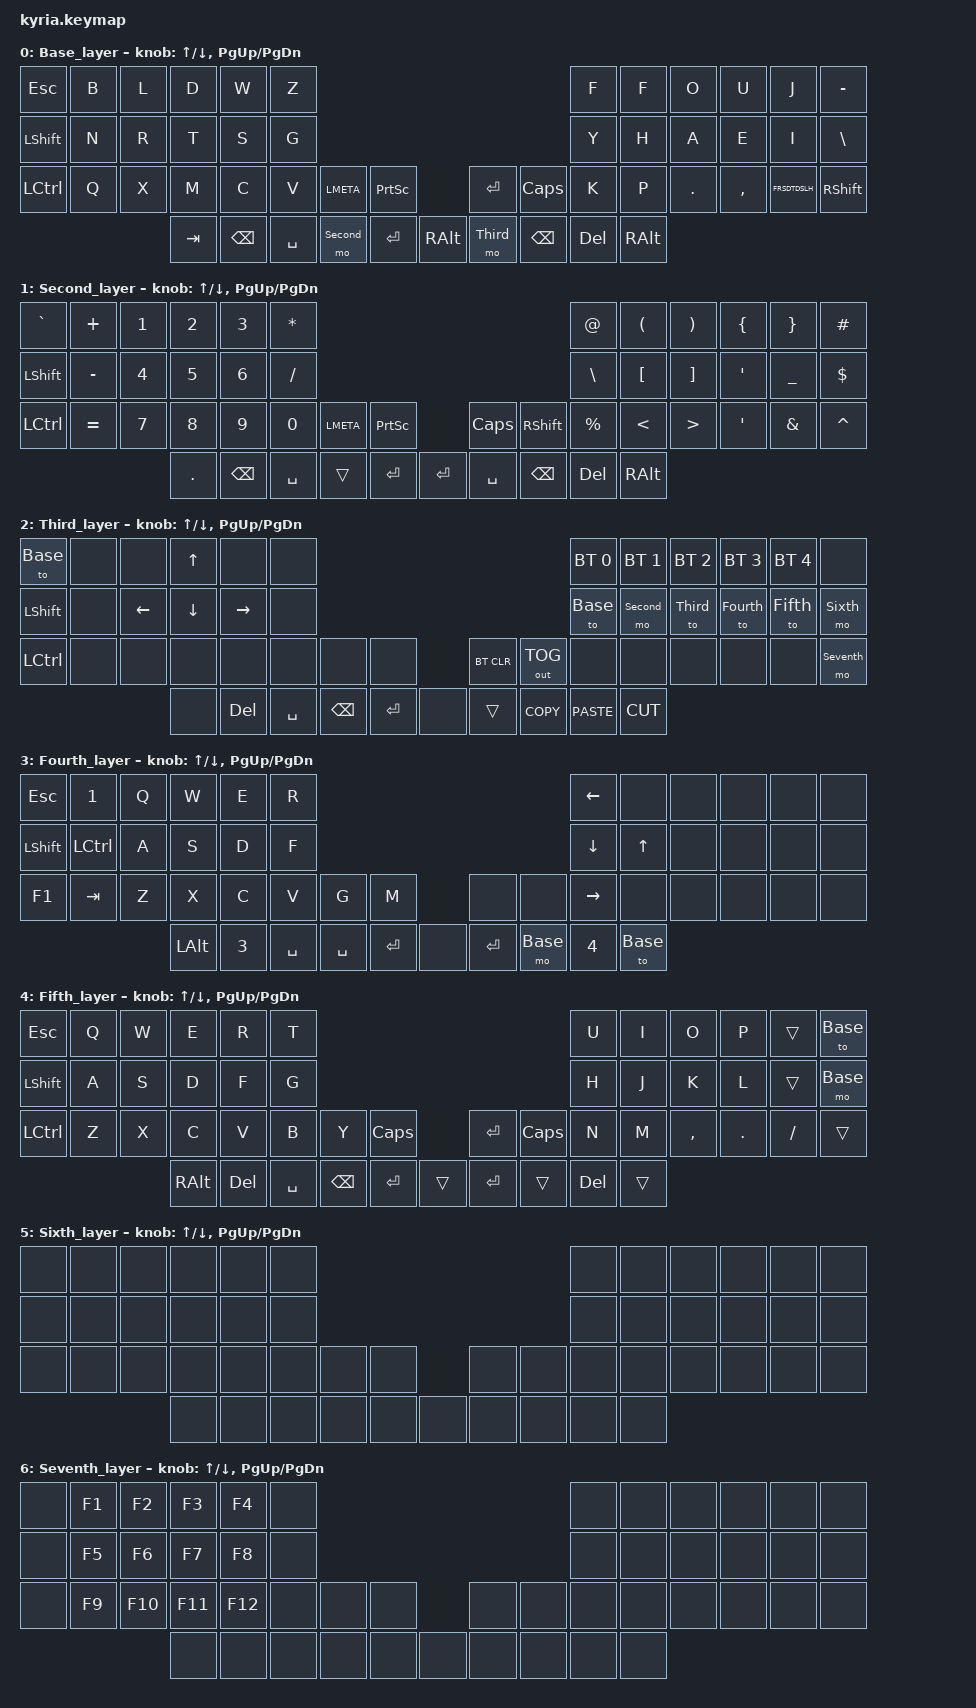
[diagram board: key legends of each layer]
/*
 * Copyright (c) 2020 The ZMK Contributors
 *
 * SPDX-License-Identifier: MIT
 */

#include <behaviors.dtsi>
#include <dt-bindings/zmk/keys.h>
#include <dt-bindings/zmk/bt.h>
#include <dt-bindings/zmk/outputs.h>


#define Base   0
#define Second 1
#define Third 2
#define Fourth 3
#define Fifth 4
#define Sixth 5
#define Seventh 6

&right_encoder {
    status = "disabled";
};

/ {
	keymap {
		compatible = "zmk,keymap";

		Base_layer {
			bindings = <
// +--------------+----------+----------+---------------+----------+----------+                                                                 +----------+----------+----------+----------+----------+----------+
// |              |          |          |               |          |          |                                                                 |         |          |          |          |          |          |
   &kp ESC        &kp B      &kp L      &kp D           &kp W      &kp Z                                                                        &kp F      &kp F      &kp O      &kp U      &kp J   	    &kp MINUS
   &kp LSHFT   	  &kp N      &kp R      &kp T           &kp S      &kp G                                                                        &kp Y      &kp H      &kp A      &kp E      &kp I    	    &kp BACKSLASH
   &kp LCTRL      &kp Q      &kp X      &kp M           &kp C      &kp V      &kp LMETA       &kp PSCRN                &kp RET       &kp CAPS   &kp K      &kp P      &kp DOT  	 &kp COMMA  &kp FRSDTDSLH   &kp RSHFT
// +--------------+----------+----------+---------------+----------+----------+---------------+----------+             +-------------+--------------+----------+----------+----------+----------+----------+----------+
	                                &kp TAB 	&kp BSPC   &kp SPC    &mo Second      &kp RET                  &kp RALT      &mo Third	&kp BSPC   &kp DEL    &kp RALT
//                                      |               |          |          |               |          |             |             |          |          |          |          |
//                                      +---------------+----------+----------+----------+---------------+             +-------------+--------------+----------+----------+----------+
			>;
			
			sensor-bindings = <&inc_dec_kp UP DOWN &inc_dec_kp PG_UP PG_DN>;
		};
		
		Second_layer {
			bindings = <
// +--------------+----------+----------+---------------+----------+----------+                                                                 +----------+----------+----------+----------+----------+----------+
// |              |          |            |             |             |          |                                                                 |         |          |          |          |          |          |
   &kp GRAVE      &kp PLUS   &kp NUMBER_1  &kp NUMBER_2  &kp NUMBER_3  &kp ASTERISK                                                                 &kp AT_SIGN  &kp LPAR       &kp RPAR   &kp LBRC   &kp RBRC       &kp HASH
   &kp LSHFT   	  &kp MINUS  &kp NUMBER_4  &kp NUMBER_5  &kp NUMBER_6  &kp SLASH                                                                    &kp BSLH     &kp LBKT       &kp RBKT   &kp SQT    &kp UNDERSCORE &kp DOLLAR
   &kp LCTRL      &kp EQUAL  &kp NUMBER_7  &kp NUMBER_8  &kp NUMBER_9  &kp NUMBER_0  &kp LMETA    &kp PSCRN              &kp CAPS      &kp RSHFT    &kp PERCENT  &kp LESS_THAN  &kp GREATER_THAN  &kp APOS   &kp AMPERSAND  &kp CARET
// +--------------+----------+----------+---------------+----------+----------+---------------+----------+             +-------------+--------------+----------+----------+----------+----------+----------+----------+
	                                   &kp PERIOD	 &kp BSPC      &kp SPC       &trans       &kp RET                &kp RET       &kp SPC      &kp BSPC     &kp DEL        &kp RALT
//                                      |               |          |          |               |          |             |             |          |          |          |          |
//                                      +---------------+----------+----------+----------+---------------+             +-------------+--------------+----------+----------+----------+
			>;
			
			sensor-bindings = <&inc_dec_kp UP DOWN &inc_dec_kp PG_UP PG_DN>;
		};
		
		Third_layer {
			bindings = <
// +--------------+----------+----------+---------------+----------+----------+                                                                    +----------+----------+----------+----------+----------+----------+
// |              |          |          |               |          |          |                                                                    |         |          |          |          |          |          |
   &to Base       &none      &none           &kp UP_ARROW    &none            &none                                                                &bt BT_SEL 0  &bt BT_SEL 1  &bt BT_SEL 2  &bt BT_SEL 3  &bt BT_SEL 4  &none
   &kp LSHFT   	  &none      &kp LEFT_ARROW  &kp DOWN_ARROW  &kp RIGHT_ARROW  &none                                                                &to Base      &mo Second    &to Third     &to Fourth    &to Fifth     &mo Sixth
   &kp LCTRL      &none      &none           &none           &none            &none     &none      &none                &bt BT_CLR  &out OUT_TOG   &none         &none         &none         &none         &none         &mo Seventh
// +--------------+----------+----------+---------------+----------+----------+---------------+----------+             +-------------+--------------+----------+----------+----------+----------+----------+----------+
	                                     &none 	     &kp DELETE       &kp SPC   &kp BSPC   &kp RET              &none       &trans	   &kp K_COPY    &kp K_PASTE   &kp K_CUT
//                                      |               |          |          |               |          |             |             |          |          |          |          |
//                                      +---------------+----------+----------+----------+---------------+             +-------------+--------------+----------+----------+----------+
			>;
			
			sensor-bindings = <&inc_dec_kp UP DOWN &inc_dec_kp PG_UP PG_DN>;
		};
		
		Fourth_layer {
			bindings = <
// +--------------+----------+----------+---------------+----------+----------+                                                                 +----------+----------+----------+----------+----------+----------+
// |              |          |          |               |          |          |                                                                 |         |          |          |          |          |          |
   &kp ESC    &kp NUMBER_1  &kp Q      &kp W         &kp E         &kp R                                                                    &kp LEFT_ARROW   &none          &none   &none   &none  &none
   &kp LSHFT  &kp LCTRL     &kp A      &kp S         &kp D         &kp F                                                                    &kp DOWN_ARROW   &kp UP_ARROW   &none   &none   &none  &none
   &kp F1     &kp TAB       &kp Z      &kp X         &kp C         &kp V      &kp G     &kp M                           &none    &none      &kp RIGHT_ARROW  &none          &none   &none   &none  &none
// +--------------+----------+----------+---------------+----------+----------+---------------+----------+             +-------------+--------------+----------+----------+----------+----------+----------+----------+
	                               &kp LEFT_ALT  &kp NUMBER_3  &kp SPC    &kp SPC   &kp RET                         &none    &kp RET     &mo Base        &kp NUMBER_4   &to Base
//                                      |               |          |          |               |          |             |             |          |          |          |          |
//                                      +---------------+----------+----------+----------+---------------+             +-------------+--------------+----------+----------+----------+
			>;
			
			sensor-bindings = <&inc_dec_kp UP DOWN &inc_dec_kp PG_UP PG_DN>;
		};
		
		Fifth_layer {
			bindings = <
// +--------------+----------+----------+---------------+----------+----------+                                                                 +----------+----------+----------+----------+----------+----------+
// |              |          |          |               |          |          |                                                                 |         |          |          |          |          |          |
   &kp ESC        &kp Q      &kp W      &kp E        &kp R      &kp T                                                                           &kp U      &kp I      &kp O      &kp P      &trans     &to Base
   &kp LSHFT   	  &kp A      &kp S      &kp D        &kp F      &kp G                                                                           &kp H      &kp J      &kp K      &kp L      &trans     &mo Base
   &kp LCTRL      &kp Z      &kp X      &kp C        &kp V      &kp B      &kp Y       &kp CAPSLOCK                     &kp RET      &kp CAPS   &kp N      &kp M      &kp COMMA  &kp DOT    &kp FSLH   &trans
// +--------------+----------+----------+---------------+----------+----------+---------------+----------+             +-------------+--------------+----------+----------+----------+----------+----------+----------+
	                                &kp RALT     &kp DEL    &kp SPC    &kp BSPC    &kp RET                          &trans       &kp RET	&trans     &kp DEL    &trans
//                                      |               |          |          |               |          |             |             |          |          |          |          |
//                                      +---------------+----------+----------+----------+---------------+             +-------------+--------------+----------+----------+----------+
			>;
			
			sensor-bindings = <&inc_dec_kp UP DOWN &inc_dec_kp PG_UP PG_DN>;
		};
		
		Sixth_layer {
			bindings = <
// +--------------+----------+----------+---------------+----------+----------+                                                                 +----------+----------+----------+----------+----------+----------+
// |              |          |          |               |          |          |                                                                 |         |          |          |          |          |          |
   &none      &none      &none      &none        &none      &none                                                                             &none      &none      &none      &none        &none      &none
   &none      &none      &none      &none        &none      &none                                                                             &none      &none      &none      &none        &none      &none
   &none      &none      &none      &none        &none      &none      &none      &none                    		&none      &none      &none      &none      &none      &none        &none      &none
// +--------------+----------+----------+---------------+----------+----------+---------------+----------+             +-------------+--------------+----------+----------+----------+----------+----------+----------+
	                            &none        &none      &none      &none      &none                          	&none      &none      &none      &none      &none
//                                      |               |          |          |               |          |             |             |          |          |          |          |
//                                      +---------------+----------+----------+----------+---------------+             +-------------+--------------+----------+----------+----------+
			>;
			
			sensor-bindings = <&inc_dec_kp UP DOWN &inc_dec_kp PG_UP PG_DN>;
		};
		
		Seventh_layer {
			bindings = <
// +--------------+----------+----------+---------------+----------+----------+                                                                 +----------+----------+----------+----------+----------+----------+
// |              |          |          |               |          |          |                                                                 |         |          |          |          |          |          |
   &none      &kp F1      &kp F2    &kp F3       &kp F4     &none                                                                             &none      &none      &none      &none        &none      &none
   &none      &kp F5      &kp F6    &kp F7       &kp F8     &none                                                                             &none      &none      &none      &none        &none      &none
   &none      &kp F9      &kp F10   &kp F11      &kp F12    &none      &none      &none                    		&none      &none      &none      &none      &none      &none        &none      &none
// +--------------+----------+----------+---------------+----------+----------+---------------+----------+             +-------------+--------------+----------+----------+----------+----------+----------+----------+
	                            &none        &none      &none      &none      &none                          	&none      &none      &none      &none      &none
//                                      |               |          |          |               |          |             |             |          |          |          |          |
//                                      +---------------+----------+----------+----------+---------------+             +-------------+--------------+----------+----------+----------+
			>;
			
			sensor-bindings = <&inc_dec_kp UP DOWN &inc_dec_kp PG_UP PG_DN>;
		};
	};
};
